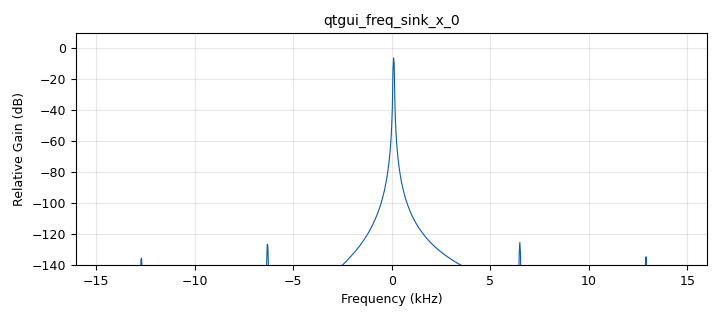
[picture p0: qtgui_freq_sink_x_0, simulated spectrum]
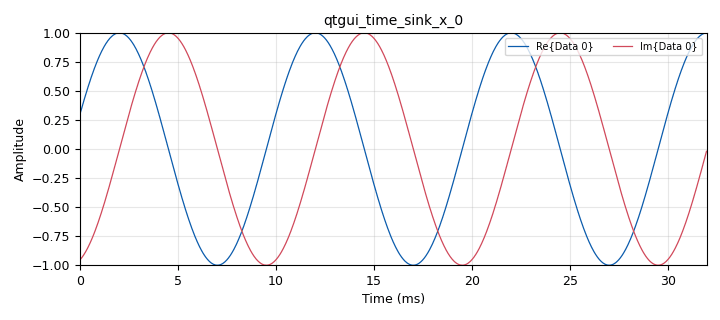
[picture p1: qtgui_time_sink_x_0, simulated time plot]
options:
  parameters:
    generate_options: qt_gui
    id: LAB_COMU1
    output_language: python
    title: Primer flujograma
  states: {}

blocks:
- name: frequency
  id: variable
  parameters:
    value: '100'
  states: {}
- name: samp_rate
  id: variable
  parameters:
    value: '32000'
  states: {}
- name: analog_sig_source_x_0
  id: analog_sig_source_x
  parameters:
    amp: '1'
    freq: frequency
    offset: '0'
    phase: '0'
    samp_rate: samp_rate
    type: complex
    waveform: analog.GR_SIN_WAVE
  states: {}
- name: blocks_throttle_0
  id: blocks_throttle
  parameters:
    samples_per_second: samp_rate
    type: complex
  states: {}
- name: qtgui_freq_sink_x_0
  id: qtgui_freq_sink_x
  parameters:
    bw: samp_rate
    fc: '0'
    fftsize: '1024'
    type: complex
    wintype: window.WIN_HANN
  states: {}
- name: qtgui_time_sink_x_0
  id: qtgui_time_sink_x
  parameters:
    size: '1024'
    srate: samp_rate
    type: complex
  states: {}

connections:
- [analog_sig_source_x_0, '0', blocks_throttle_0, '0']
- [blocks_throttle_0, '0', qtgui_freq_sink_x_0, '0']
- [blocks_throttle_0, '0', qtgui_time_sink_x_0, '0']

metadata:
  file_format: 1
  grc_version: 3.9.8.0
